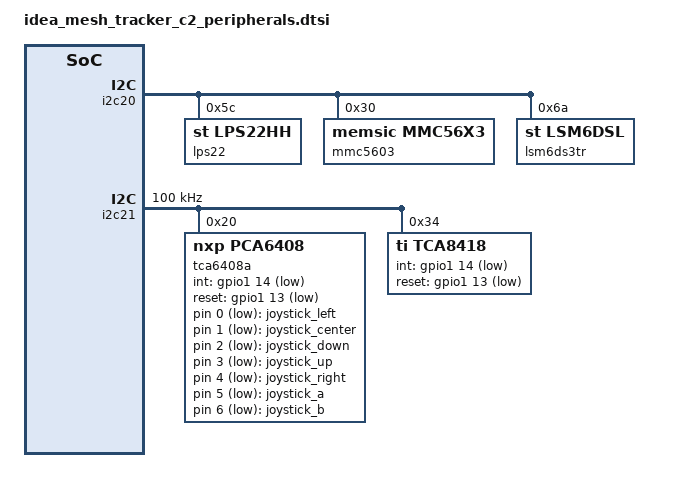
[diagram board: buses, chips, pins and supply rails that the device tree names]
/* SPDX-License-Identifier: Apache-2.0 */

#include <zephyr/dt-bindings/input/input-event-codes.h>
#include <zephyr/dt-bindings/input/keymap.h>

/* Optional sensors populated by the C2 assembly. */
&i2c20 {
	lps22: lps22hh@5c {
		compatible = "st,lps22hh";
		reg = <0x5c>;
		odr = <1>;
		power-domains = <&peripheral_power>;
	};

	mmc5603: mmc5603@30 {
		compatible = "memsic,mmc56x3";
		reg = <0x30>;
		magn-odr = <0>;
		auto-self-reset;
		power-domains = <&peripheral_power>;
	};

	/* LSM6DS3TR-C uses the LSM6DSL-compatible register map. */
	lsm6ds3tr: lsm6ds3tr@6a {
		compatible = "st,lsm6dsl";
		reg = <0x6a>;
		power-domains = <&peripheral_power>;
	};
};

&button0 {
	zephyr,code = <INPUT_BTN_BACK>;
};

&button1 {
	zephyr,code = <INPUT_BTN_SELECT>;
};

&buttons {
	wakeup-source;

	joystick_left: joystick_left {
		gpios = <&tca6408a 0 GPIO_ACTIVE_LOW>;
		zephyr,code = <INPUT_KEY_LEFT>;
	};

	joystick_center: joystick_center {
		gpios = <&tca6408a 1 GPIO_ACTIVE_LOW>;
		zephyr,code = <INPUT_KEY_ENTER>;
	};

	joystick_down: joystick_down {
		gpios = <&tca6408a 2 GPIO_ACTIVE_LOW>;
		zephyr,code = <INPUT_KEY_DOWN>;
	};

	joystick_up: joystick_up {
		gpios = <&tca6408a 3 GPIO_ACTIVE_LOW>;
		zephyr,code = <INPUT_KEY_UP>;
	};

	joystick_right: joystick_right {
		gpios = <&tca6408a 4 GPIO_ACTIVE_LOW>;
		zephyr,code = <INPUT_KEY_RIGHT>;
	};

	joystick_a: joystick_a {
		gpios = <&tca6408a 5 GPIO_ACTIVE_LOW>;
		zephyr,code = <INPUT_BTN_SELECT>;
	};

	joystick_b: joystick_b {
		gpios = <&tca6408a 6 GPIO_ACTIVE_LOW>;
		zephyr,code = <INPUT_BTN_BACK>;
	};
};

&i2c21 {
	clock-frequency = <I2C_BITRATE_STANDARD>;

	tca6408a: tca6408a@20 {
		status = "okay";
		compatible = "nxp,pca6408";
		reg = <0x20>;
		gpio-controller;
		#gpio-cells = <2>;
		ngpios = <8>;
		int-gpios = <&gpio1 14 GPIO_ACTIVE_LOW>;
		reset-gpios = <&gpio1 13 (GPIO_OPEN_DRAIN | GPIO_PULL_UP | GPIO_ACTIVE_LOW)>;
		power-domains = <&peripheral_power>;
	};

	tca8418: tca8418@34 {
		status = "okay";
		compatible = "ti,tca8418";
		reg = <0x34>;
		int-gpios = <&gpio1 14 GPIO_ACTIVE_LOW>;
		reset-gpios = <&gpio1 13 (GPIO_OPEN_DRAIN | GPIO_PULL_UP | GPIO_ACTIVE_LOW)>;
		power-domains = <&peripheral_power>;

		tca8418_kbd: tca8418-kbd {
			status = "okay";
			compatible = "ti,tca8418-kbd";
			row-size = <3>;
			col-size = <4>;

			keypad: keymap {
				status = "okay";
				compatible = "input-keymap";
				keymap = <MATRIX_KEY(0, 0, INPUT_KEY_1)
						  MATRIX_KEY(0, 1, INPUT_KEY_2)
						  MATRIX_KEY(0, 2, INPUT_KEY_3)
						  MATRIX_KEY(0, 3, INPUT_KEY_KPDOT)
						  MATRIX_KEY(1, 0, INPUT_KEY_4)
						  MATRIX_KEY(1, 1, INPUT_KEY_5)
						  MATRIX_KEY(1, 2, INPUT_KEY_6)
						  MATRIX_KEY(1, 3, INPUT_KEY_0)
						  MATRIX_KEY(2, 0, INPUT_KEY_7)
						  MATRIX_KEY(2, 1, INPUT_KEY_8)
						  MATRIX_KEY(2, 2, INPUT_KEY_9)
						  MATRIX_KEY(2, 3, INPUT_KEY_KPASTERISK)>;
				row-size = <3>;
				col-size = <4>;
			};
		};
	};
};

